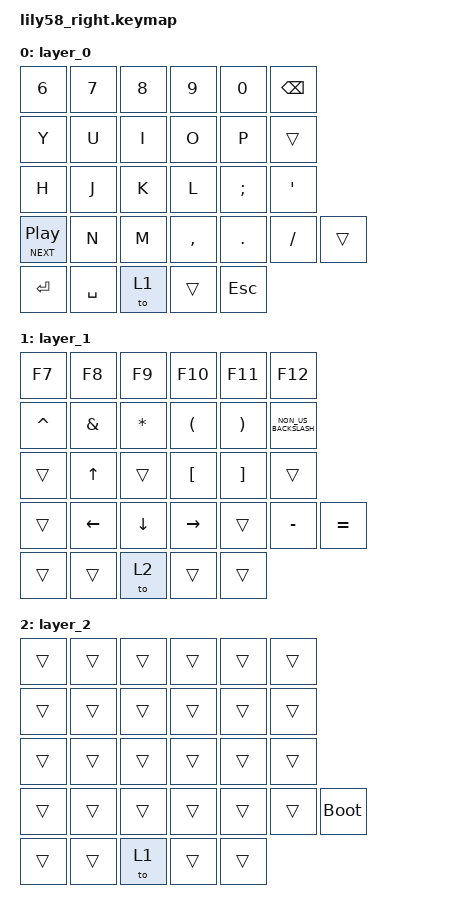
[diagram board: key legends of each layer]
#include <behaviors.dtsi>
#include <dt-bindings/zmk/bt.h>
#include <dt-bindings/zmk/keys.h>

/ {
    keymap {
        compatible = "zmk,keymap";

        layer_0 {
            bindings = <
                &kp NUMBER_6  &kp N7  &kp N8      &kp N9      &kp N0         &kp BACKSPACE
                &kp Y         &kp U   &kp I       &kp O       &kp P          &trans
                &kp H         &kp J   &kp K       &kp L       &kp SEMICOLON  &kp SQT
                &mt C_NEXT C_PLAY_PAUSE  &kp N  &kp M   &kp COMMA   &kp PERIOD  &kp SLASH      &trans
                &kp ENTER    &kp SPACE                &to 1         &trans  &kp ESCAPE
            >;
        };

        layer_1 {
            bindings = <
                &kp F7          &kp F8        &kp F9     &kp F10               &kp F11                &kp F12
                &kp CARET       &kp AMPS      &kp ASTRK  &kp LEFT_PARENTHESIS  &kp RIGHT_PARENTHESIS  &kp NON_US_BACKSLASH
                &trans          &kp UP_ARROW  &trans     &kp LEFT_BRACKET      &kp RIGHT_BRACKET      &trans
                &trans          &kp LEFT_ARROW  &kp DOWN      &kp RIGHT  &trans                &kp MINUS              &kp EQUAL
                &trans    &trans  &to 2           &trans        &trans
            >;
        };

        layer_2 {
            bindings = <
                &trans  &trans  &trans  &trans  &trans  &trans
                &trans  &trans  &trans  &trans  &trans  &trans
                &trans  &trans  &trans  &trans  &trans  &trans
                &trans  &trans  &trans  &trans  &trans  &trans  &bootloader
                &trans  &trans  &to 1   &trans  &trans
            >;
        };
    };
};
